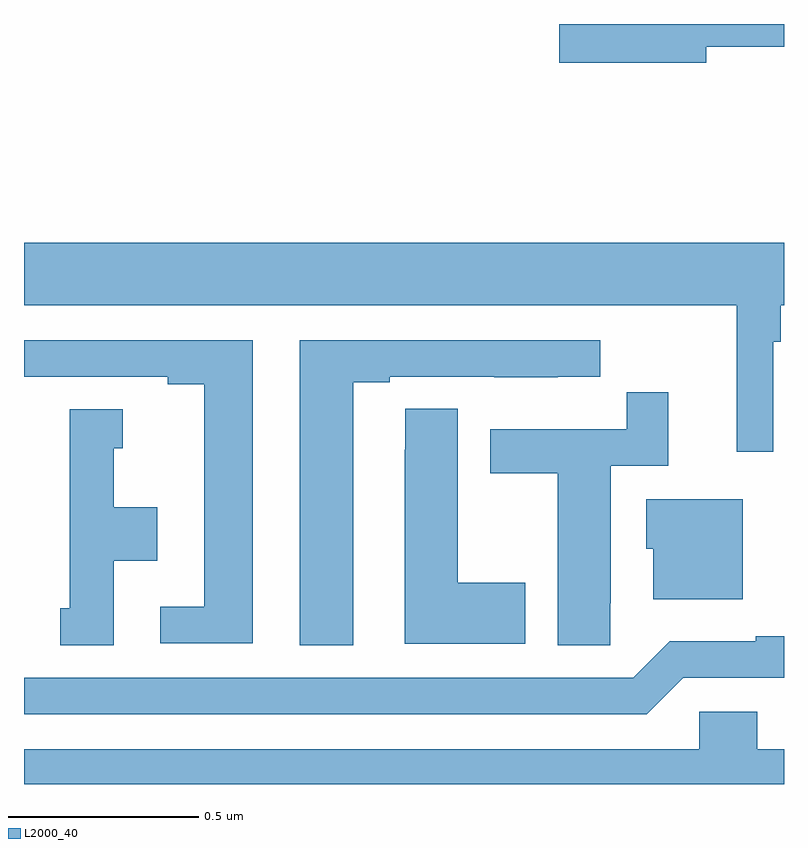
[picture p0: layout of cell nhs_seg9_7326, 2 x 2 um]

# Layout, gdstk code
import gdstk
lib = gdstk.Library(unit=1e-6, precision=1e-09)
def P(c, l, *ps):  # polygons
    for p in ps: c.add(gdstk.Polygon(p, *l))
L2000_40 = (2000, 40)

nhs_seg9_7326 = lib.new_cell('nhs_seg9_7326')
P(nhs_seg9_7326, L2000_40, [(204.796,1190.44),(205,1190.44),(205,1190.5),(204.408,1190.5),(204.408,1190.398),(204.796,1190.398)],
  [(204.972,1189.664),(204.992,1189.664),(204.992,1189.76),(205,1189.76),(205,1189.924),(203,1189.924),(203,1189.76),(204.875,1189.76),(204.875,1189.374),(204.972,1189.374)],
  [(203.866,1189.557),(203.962,1189.557),(203.962,1189.572),(204.238,1189.572),(204.238,1189.571),(204.404,1189.571),(204.404,1189.572),(204.517,1189.572),(204.517,1189.668),(203.726,1189.668),(203.726,1188.865),(203.866,1188.865)],
  [(203.602,1189.668),(203,1189.668),(203,1189.572),(203.378,1189.572),(203.378,1189.552),(203.474,1189.552),(203.474,1188.966),(203.358,1188.966),(203.358,1188.87),(203.602,1188.87)],
  [(204.543,1188.976),(204.544,1188.976),(204.544,1189.338),(204.695,1189.338),(204.695,1189.531),(204.586,1189.531),(204.586,1189.434),(204.227,1189.434),(204.227,1189.318),(204.404,1189.318),(204.404,1188.865),(204.543,1188.865)],
  [(204.319,1189.029),(204.142,1189.029),(204.142,1189.487),(204.003,1189.487),(204.003,1189.379),(204.002,1189.379),(204.002,1188.869),(204.319,1188.869)],
  [(203.236,1189.088),(203.35,1189.088),(203.35,1189.228),(203.236,1189.228),(203.236,1189.383),(203.26,1189.383),(203.26,1189.486),(203.12,1189.486),(203.12,1188.963),(203.096,1188.963),(203.096,1188.865),(203.236,1188.865)],
  [(204.892,1189.249),(204.638,1189.249),(204.638,1189.119),(204.656,1189.119),(204.656,1188.986),(204.892,1188.986)],
  [(204.735,1188.78),(205,1188.78),(205,1188.889),(204.926,1188.889),(204.926,1188.876),(204.699,1188.876),(204.603,1188.78),(203,1188.78),(203,1188.684),(204.639,1188.684)],
  [(205,1188.592),(204.929,1188.592),(204.929,1188.69),(204.777,1188.69),(204.777,1188.592),(203,1188.592),(203,1188.5),(205,1188.5)])

lib.write_gds('nhs_seg9_7326.gds')
